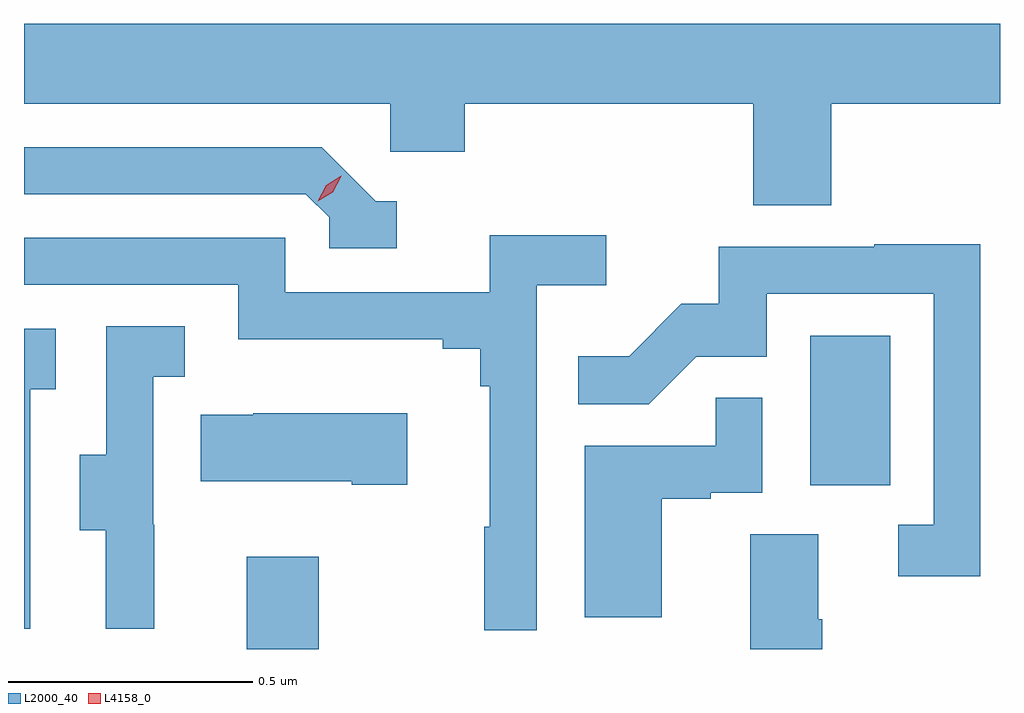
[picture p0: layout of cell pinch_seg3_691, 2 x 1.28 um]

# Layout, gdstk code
import gdstk
lib = gdstk.Library(unit=1e-6, precision=1e-09)
def R(c, l, rs):  # rectangles x0, y0, x1, y1
    for r in rs: c.add(gdstk.rectangle(r[:2], r[2:], *l))
def P(c, l, *ps):  # polygons
    for p in ps: c.add(gdstk.Polygon(p, *l))
L2000_40 = (2000, 40)
L4158_0 = (4158, 0)

pinch_seg3_691 = lib.new_cell('pinch_seg3_691')
R(pinch_seg3_691, L2000_40, [(1126.799,683.814,1126.947,684.004), (1127.954,684.15,1128.118,684.457)])
P(pinch_seg3_691, L2000_40, [(1127.997,684.932),(1128.343,684.932),(1128.343,685.096),(1126.343,685.096),(1126.343,684.932),(1127.094,684.932),(1127.094,684.834),(1127.246,684.834),(1127.246,684.932),(1127.837,684.932),(1127.837,684.724),(1127.997,684.724)],
  [(1127.107,684.732),(1127.064,684.732),(1126.953,684.843),(1126.343,684.843),(1126.343,684.747),(1126.92,684.747),(1126.968,684.699),(1126.968,684.636),(1127.107,684.636)],
  [(1127.394,684.56),(1127.536,684.56),(1127.536,684.662),(1127.297,684.662),(1127.297,684.546),(1126.878,684.546),(1126.878,684.657),(1126.343,684.657),(1126.343,684.561),(1126.782,684.561),(1126.782,684.449),(1127.201,684.449),(1127.201,684.43),(1127.278,684.43),(1127.278,684.353),(1127.297,684.353),(1127.297,684.065),(1127.286,684.065),(1127.286,683.853),(1127.394,683.853)],
  [(1128.303,684.644),(1128.085,684.644),(1128.085,684.639),(1127.767,684.639),(1127.767,684.522),(1127.69,684.522),(1127.583,684.415),(1127.479,684.415),(1127.479,684.316),(1127.623,684.316),(1127.721,684.414),(1127.865,684.414),(1127.865,684.543),(1128.207,684.543),(1128.207,684.069),(1128.135,684.069),(1128.135,683.964),(1128.303,683.964)],
  [(1126.61,684.069),(1126.608,684.069),(1126.608,684.373),(1126.672,684.373),(1126.672,684.476),(1126.512,684.476),(1126.512,684.213),(1126.457,684.213),(1126.457,684.058),(1126.511,684.058),(1126.511,683.856),(1126.61,683.856)],
  [(1126.356,684.347),(1126.408,684.347),(1126.408,684.471),(1126.343,684.471),(1126.343,683.856),(1126.356,683.856)],
  [(1127.65,684.123),(1127.75,684.123),(1127.75,684.135),(1127.856,684.135),(1127.856,684.329),(1127.761,684.329),(1127.761,684.231),(1127.492,684.231),(1127.492,683.88),(1127.65,683.88)],
  [(1127.128,684.298),(1126.813,684.298),(1126.813,684.295),(1126.705,684.295),(1126.705,684.158),(1127.015,684.158),(1127.015,684.151),(1127.128,684.151)],
  [(1127.979,683.876),(1127.971,683.876),(1127.971,684.05),(1127.831,684.05),(1127.831,683.814),(1127.979,683.814)])
P(pinch_seg3_691, L4158_0, [(1126.945,684.732),(1126.945,684.732),(1126.962,684.765),(1126.993,684.784),(1126.993,684.784),(1126.993,684.783),(1126.976,684.751),(1126.945,684.732)])

lib.write_gds('pinch_seg3_691.gds')
